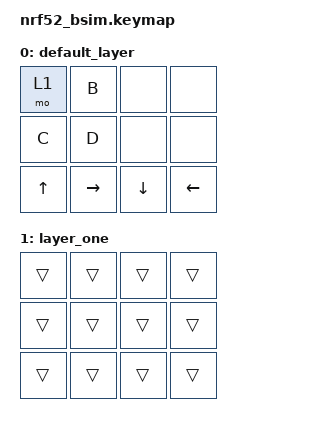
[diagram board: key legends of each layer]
/*
 * Copyright (c) 2026 amgskobo
 * SPDX-License-Identifier: MIT
 *
 * A pad on the peripheral drives a 1x4 tap diamond on the central across the
 * split link: Up, Right, Down, Left at key positions 8 to 11.
 *
 * 4.0 s  A tap at the top: UP pressed and released at the lift.
 * 4.5 s  A tap at the right: RIGHT.
 * 5.0 s  A long press at the bottom: DOWN goes down 200 ms in and up at the
 *        lift at 5.4 s.
 * 6.0 s  A long press at the left: LEFT goes down at 6.2 s. Layer 1 goes up
 *        at 6.3 s, while the finger is still down, though layer 1 routes the
 *        pad through the same diamond.
 * 7.0 s  A tap at the top: UP.
 */

#include <behaviors.dtsi>
#include <dt-bindings/zmk/keys.h>
#include <dt-bindings/zmk/kscan_mock.h>

#include "shared.dtsi"

&kscan {
    /delete-property/ exit-after;
    /* A mock event's delay is also the wait after it, so a no-op release
     * leads: layer 1 goes up at 6.3 s and down at 6.6 s. */
    events = <ZMK_MOCK_RELEASE(1,1,3150) ZMK_MOCK_PRESS(0,0,300) ZMK_MOCK_RELEASE(0,0,300)>;
};

&split_listener {
    status = "okay";
};

/ {
    chosen {
        zmk,kscan = &composite;
    };

    /* The mock's 2x2 on row 0 and 1, the diamond's four cells on row 2. */
    composite: composite {
        compatible = "zmk,kscan-composite";
        rows = <3>;
        columns = <4>;

        mock {
            kscan = <&kscan>;
        };

        gesture {
            kscan = <&kscan_gesture>;
            row-offset = <2>;
        };
    };

    keymap {
        compatible = "zmk,keymap";

        default_layer {
            bindings = <
            &mo 1  &kp B     &none    &none
            &kp C  &kp D     &none    &none
            &kp UP &kp RIGHT &kp DOWN &kp LEFT>;
        };

        layer_one {
            bindings = <
            &trans &trans &trans &trans
            &trans &trans &trans &trans
            &trans &trans &trans &trans>;
        };
    };
};
